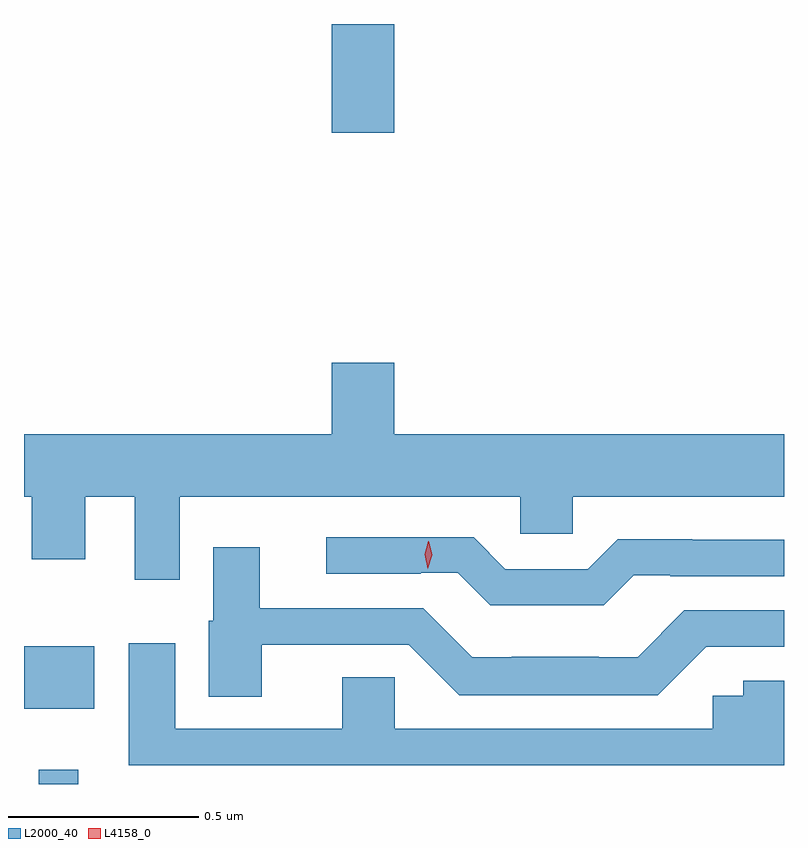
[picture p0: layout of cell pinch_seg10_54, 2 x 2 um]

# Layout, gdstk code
import gdstk
lib = gdstk.Library(unit=1e-6, precision=1e-09)
def R(c, l, rs):  # rectangles x0, y0, x1, y1
    for r in rs: c.add(gdstk.rectangle(r[:2], r[2:], *l))
def P(c, l, *ps):  # polygons
    for p in ps: c.add(gdstk.Polygon(p, *l))
L2000_40 = (2000, 40)
L4158_0 = (4158, 0)

pinch_seg10_54 = lib.new_cell('pinch_seg10_54')
R(pinch_seg10_54, L2000_40, [(847.553,1292.9,847.657,1292.938), (847.514,1293.098,847.699,1293.262), (848.324,1294.614,848.488,1294.9)])
P(pinch_seg10_54, L2000_40, [(847.924,1293.656),(848.82,1293.656),(848.82,1293.558),(848.958,1293.558),(848.958,1293.656),(849.514,1293.656),(849.514,1293.82),(848.488,1293.82),(848.488,1294.009),(848.324,1294.009),(848.324,1293.82),(847.514,1293.82),(847.514,1293.656),(847.535,1293.656),(847.535,1293.492),(847.675,1293.492),(847.675,1293.656),(847.805,1293.656),(847.805,1293.438),(847.924,1293.438)],
  [(849.119,1293.45),(849.214,1293.45),(849.214,1293.447),(849.514,1293.447),(849.514,1293.543),(849.272,1293.543),(849.272,1293.544),(849.076,1293.544),(848.997,1293.465),(848.781,1293.465),(848.697,1293.549),(848.31,1293.549),(848.31,1293.453),(848.558,1293.453),(848.558,1293.456),(848.656,1293.456),(848.741,1293.371),(849.04,1293.371)],
  [(848.14,1293.267),(848.527,1293.267),(848.66,1293.134),(849.182,1293.134),(849.309,1293.261),(849.514,1293.261),(849.514,1293.357),(849.252,1293.357),(849.129,1293.234),(849.026,1293.234),(849.026,1293.235),(848.797,1293.235),(848.797,1293.234),(848.694,1293.234),(848.565,1293.363),(848.134,1293.363),(848.134,1293.523),(848.012,1293.523),(848.012,1293.33),(848,1293.33),(848,1293.13),(848.14,1293.13)],
  [(849.514,1293.172),(849.407,1293.172),(849.407,1293.132),(849.327,1293.132),(849.327,1293.045),(848.489,1293.045),(848.489,1293.181),(848.351,1293.181),(848.351,1293.045),(847.912,1293.045),(847.912,1293.271),(847.79,1293.271),(847.79,1292.949),(849.514,1292.949)])
P(pinch_seg10_54, L4158_0, [(848.577,1293.467),(848.577,1293.467),(848.568,1293.504),(848.578,1293.539),(848.578,1293.539),(848.579,1293.539),(848.588,1293.503),(848.577,1293.467)])

lib.write_gds('pinch_seg10_54.gds')
